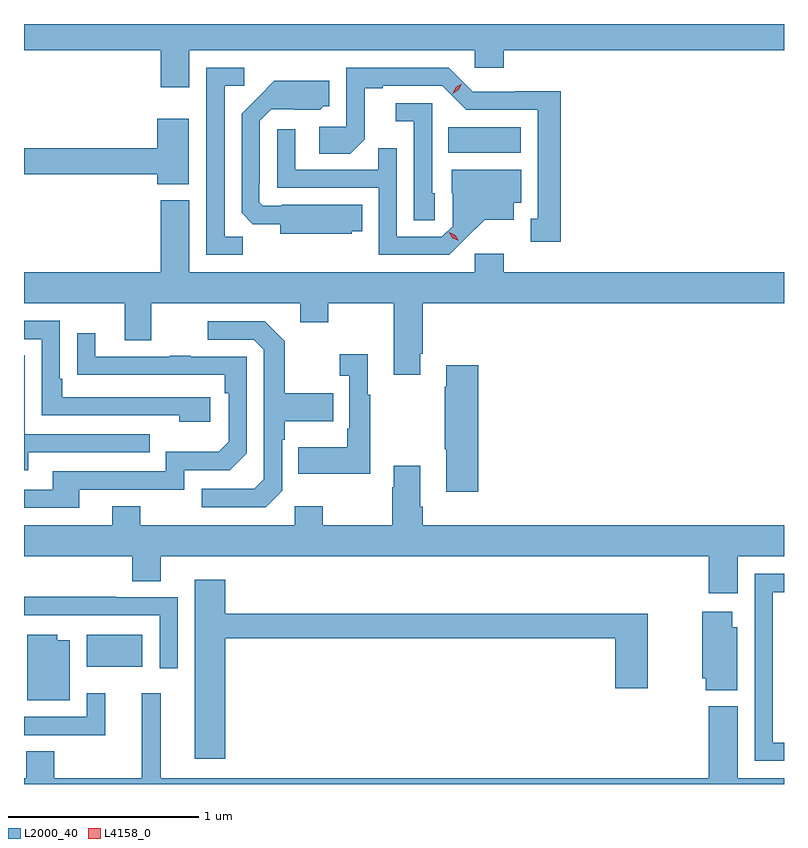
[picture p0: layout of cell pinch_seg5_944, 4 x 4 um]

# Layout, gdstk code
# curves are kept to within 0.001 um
import gdstk
lib = gdstk.Library(unit=1e-6, precision=1e-09)
def R(c, l, rs):  # rectangles x0, y0, x1, y1
    for r in rs: c.add(gdstk.rectangle(r[:2], r[2:], *l))
def P(c, l, *ps):  # polygons
    for p in ps: c.add(gdstk.Polygon(p, *l))
L2000_40 = (2000, 40)
L4158_0 = (4158, 0)

pinch_seg5_944 = lib.new_cell('pinch_seg5_944')
R(pinch_seg5_944, L2000_40, [(700.01,882.818,700.303,882.988), (701.914,885.524,702.295,885.658)])
P(pinch_seg5_944, L2000_40, [(700.552,886.064),(702.054,886.064),(702.054,885.971),(702.206,885.971),(702.206,886.064),(703.681,886.064),(703.681,886.202),(699.681,886.202),(699.681,886.064),(700.4,886.064),(700.4,885.87),(700.552,885.87)],
  [(700.833,885.083),(700.737,885.083),(700.737,885.876),(700.84,885.876),(700.84,885.972),(700.641,885.972),(700.641,884.988),(700.833,884.988)],
  [(702.505,885.848),(702.264,885.848),(702.264,885.846),(702.042,885.846),(701.916,885.972),(701.376,885.972),(701.376,885.66),(701.235,885.66),(701.235,885.52),(701.399,885.52),(701.475,885.596),(701.475,885.864),(701.569,885.864),(701.569,885.876),(701.883,885.876),(702.009,885.75),(702.386,885.75),(702.386,885.177),(702.347,885.177),(702.347,885.057),(702.505,885.057)],
  [(701.406,885.11),(701.462,885.11),(701.462,885.25),(701.038,885.25),(701.038,885.246),(700.938,885.246),(700.92,885.264),(700.92,885.364),(700.923,885.364),(700.923,885.693),(700.983,885.753),(701.24,885.752),(701.256,885.768),(701.287,885.768),(701.287,885.904),(700.999,885.904),(700.827,885.73),(700.827,885.208),(700.886,885.149),(701.03,885.149),(701.03,885.098),(701.406,885.098)],
  [(701.844,885.312),(701.829,885.312),(701.829,885.786),(701.637,885.786),(701.637,885.689),(701.733,885.689),(701.733,885.169),(701.844,885.169)],
  [(700.549,885.703),(700.382,885.703),(700.382,885.548),(699.681,885.548),(699.681,885.412),(700.382,885.412),(700.382,885.359),(700.549,885.359)],
  [(702.004,885.071),(702.107,885.173),(702.259,885.173),(702.259,885.26),(702.298,885.26),(702.298,885.436),(701.933,885.436),(701.933,885.312),(701.937,885.312),(701.937,885.138),(701.88,885.081),(701.643,885.081),(701.643,885.548),(701.545,885.548),(701.545,885.435),(701.109,885.435),(701.109,885.649),(701.013,885.649),(701.013,885.339),(701.547,885.339),(701.547,884.988),(701.92,884.988)],
  [(703.681,884.896),(702.206,884.896),(702.206,884.992),(702.054,884.992),(702.054,884.896),(700.552,884.896),(700.552,885.274),(700.4,885.274),(700.4,884.896),(699.681,884.896),(699.681,884.732),(700.211,884.732),(700.211,884.538),(700.351,884.538),(700.351,884.732),(701.135,884.732),(701.135,884.633),(701.283,884.633),(701.283,884.732),(701.627,884.732),(701.627,884.355),(701.767,884.355),(701.767,884.467),(701.78,884.467),(701.78,884.732),(703.681,884.732)],
  [(700.66,884.238),(699.883,884.238),(699.883,884.335),(699.87,884.335),(699.87,884.64),(699.681,884.64),(699.681,884.544),(699.774,884.544),(699.774,884.142),(700.499,884.142),(700.499,884.108),(700.66,884.108)],
  [(701.04,883.746),(701.04,884.015),(701.053,884.015),(701.053,884.111),(701.309,884.111),(701.309,884.259),(701.053,884.259),(701.053,884.531),(700.947,884.637),(700.647,884.637),(700.647,884.541),(700.89,884.541),(700.944,884.487),(700.944,883.806),(700.893,883.755),(700.617,883.755),(700.617,883.659),(700.953,883.659)],
  [(699.973,883.752),(700.524,883.752),(700.524,883.854),(700.764,883.854),(700.854,883.944),(700.854,884.451),(700.559,884.451),(700.559,884.456),(700.447,884.456),(700.447,884.451),(700.057,884.451),(700.057,884.575),(699.961,884.575),(699.961,884.356),(700.738,884.355),(700.738,884.258),(700.758,884.258),(700.758,884.004),(700.705,883.951),(700.428,883.951),(700.428,883.848),(699.833,883.848),(699.833,883.752),(699.681,883.752),(699.681,883.656),(699.973,883.656)],
  [(701.503,884.251),(701.491,884.251),(701.491,884.464),(701.343,884.464),(701.343,884.351),(701.394,884.351),(701.394,884.071),(701.382,884.071),(701.382,883.975),(701.125,883.975),(701.125,883.835),(701.503,883.835)],
  [(699.703,883.947),(700.343,883.947),(700.343,884.043),(699.684,884.043),(699.684,884.459),(699.681,884.459),(699.681,883.853),(699.703,883.853)],
  [(702.071,884.407),(701.903,884.407),(701.903,884.294),(701.896,884.294),(701.896,883.963),(701.903,883.963),(701.903,883.74),(702.071,883.74)],
  [(703.438,883.4),(703.681,883.4),(703.681,883.564),(701.78,883.564),(701.78,883.66),(701.767,883.66),(701.767,883.876),(701.627,883.876),(701.627,883.763),(701.62,883.763),(701.62,883.564),(701.253,883.564),(701.253,883.663),(701.106,883.663),(701.106,883.564),(700.293,883.564),(700.293,883.663),(700.145,883.663),(700.145,883.564),(699.681,883.564),(699.681,883.4),(700.25,883.4),(700.25,883.27),(700.402,883.27),(700.402,883.4),(703.286,883.4),(703.286,883.206),(703.438,883.206)],
  [(703.681,882.419),(703.623,882.419),(703.623,883.212),(703.681,883.212),(703.681,883.308),(703.527,883.308),(703.527,882.324),(703.681,882.324)],
  [(700.739,882.97),(702.794,882.97),(702.794,882.705),(702.964,882.705),(702.964,883.099),(700.739,883.099),(700.739,883.276),(700.58,883.276),(700.58,882.336),(700.739,882.336)],
  [(700.491,883.185),(700.166,883.185),(700.166,883.187),(699.681,883.187),(699.681,883.089),(700.395,883.089),(700.395,882.81),(700.491,882.81)],
  [(703.435,883.026),(703.408,883.026),(703.408,883.108),(703.25,883.108),(703.25,882.759),(703.268,882.759),(703.268,882.695),(703.435,882.695)],
  [(699.922,882.958),(699.856,882.958),(699.856,882.988),(699.698,882.988),(699.698,882.644),(699.922,882.644)],
  [(703.681,882.232),(703.438,882.232),(703.438,882.61),(703.286,882.61),(703.286,882.232),(700.4,882.232),(700.4,882.679),(700.301,882.679),(700.301,882.232),(699.84,882.232),(699.84,882.374),(699.692,882.374),(699.692,882.232),(699.681,882.232),(699.681,882.202),(703.681,882.202)],
  [(700.109,882.679),(700.011,882.679),(700.011,882.555),(699.681,882.555),(699.681,882.459),(700.109,882.459)])
P(pinch_seg5_944, L4158_0, [(701.937,885.835),(701.937,885.836),(701.954,885.868),(701.985,885.888),(701.986,885.888),(701.986,885.888),(701.969,885.855),(701.937,885.835)],
  [(701.968,885.06),(701.937,885.075),(701.92,885.104),(701.92,885.105),(701.92,885.105),(701.951,885.089),(701.968,885.06),(701.968,885.06)])

lib.write_gds('pinch_seg5_944.gds')
